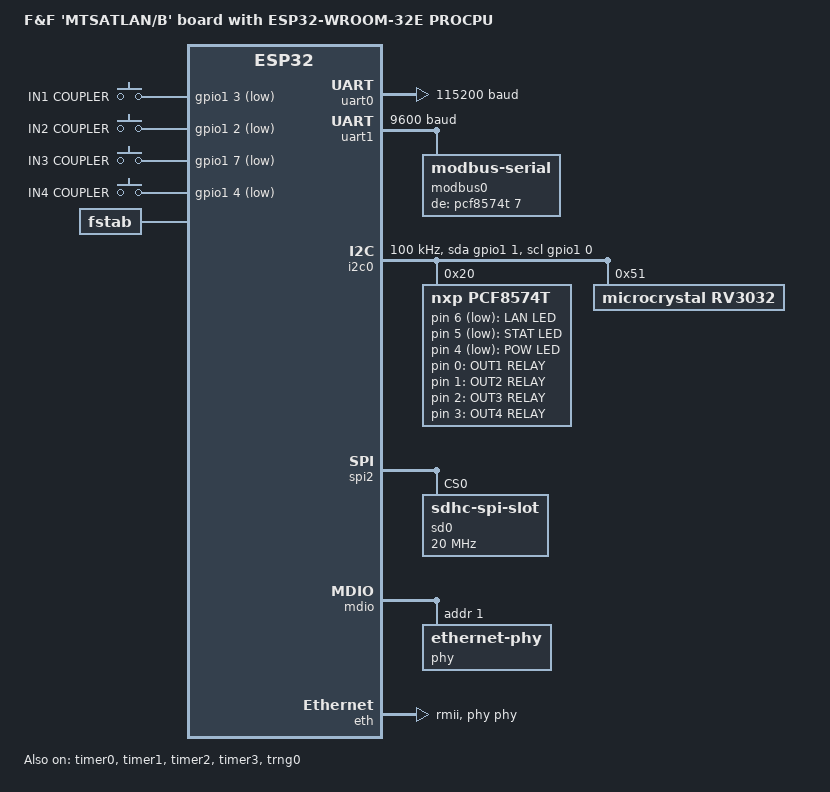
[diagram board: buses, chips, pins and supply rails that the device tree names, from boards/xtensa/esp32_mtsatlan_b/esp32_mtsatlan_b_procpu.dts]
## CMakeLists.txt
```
# SPDX-License-Identifier: Apache-2.0

list(APPEND ZEPHYR_EXTRA_MODULES ${CMAKE_CURRENT_SOURCE_DIR}/drivers/gpio)
list(APPEND ZEPHYR_EXTRA_MODULES ${CMAKE_CURRENT_SOURCE_DIR}/drivers/rtc)

cmake_minimum_required(VERSION 3.20.0)

# list(APPEND BOARD_ROOT ${CMAKE_CURRENT_SOURCE_DIR})

find_package(Zephyr REQUIRED HINTS $ENV{ZEPHYR_BASE})
project(mtsatlam_b_ex)

# if(NOT (DEFINED SYSBUILD))
#   message(FATAL_ERROR "\nThis project must be built with sysbuild!")
# endif()

target_include_directories(app PRIVATE ${CMAKE_CURRENT_SOURCE_DIR}/src)
FILE(GLOB app_csources src/*.c)
target_sources(app PRIVATE ${app_csources})

if(CONFIG_MODBUS)
  add_subdirectory(src/mbm)
endif()
if(CONFIG_GPIO_PCF8574T)
  add_subdirectory(src/ioexp)
endif()
```

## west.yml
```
manifest:
  remotes:
    - name: zephyr-andriyhrabchak
      url-base: https://github.com/andriyhrabchak
  projects:
    - name: zephyr
      remote: zephyr-andriyhrabchak
      revision: initialize_ref_clk_in_mdio_esp32
      import: 
        name-allowlist:
          - hal_espressif
          - littlefs
          - fatfs
          - mcuboot
          - mbedtls
          - zcbor
  self:
    path: app
```

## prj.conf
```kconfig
# NET
CONFIG_NETWORKING=y
CONFIG_NET_L2_ETHERNET=y
CONFIG_NET_IPV6=n
CONFIG_NET_IPV4=y
CONFIG_NET_DHCPV4=y
CONFIG_NET_UDP=y
CONFIG_NET_ARP=y
CONFIG_NET_TCP=y
CONFIG_NET_OFFLOAD=y
CONFIG_NET_HOSTNAME_ENABLE=y
CONFIG_NET_HOSTNAME_DYNAMIC=y
CONFIG_NET_MAX_CONTEXTS=10
CONFIG_NET_PKT_TX_COUNT=20
CONFIG_NET_BUF_TX_COUNT=50
CONFIG_NET_SOCKETS_POLL_MAX=10
CONFIG_NET_MAX_CONN=10

# CONFIG_DNS_RESOLVER=y
# CONFIG_DNS_SERVER_IP_ADDRESSES=y
# CONFIG_DNS_SERVER1="8.8.8.8"

CONFIG_SNTP=y

# LOG
CONFIG_NET_LOG=y
# CONFIG_I2C_LOG_LEVEL_DBG=y
# CONFIG_SPI_LOG_LEVEL_DBG=y
# CONFIG_GPIO_LOG_LEVEL_DBG=y
# CONFIG_MODBUS_LOG_LEVEL_DBG=y
# CONFIG_RTC_LOG_LEVEL_DBG=y
# CONFIG_DISK_LOG_LEVEL_DBG=y
# CONFIG_FS_LOG_LEVEL_DBG=y

# Enable SYSLOG
CONFIG_LOG_BACKEND_NET=y
CONFIG_LOG_BACKEND_NET_SERVER="192.168.137.1"
# CONFIG_LOG_BACKEND_NET_SERVER="169.46.82.174:25736"
CONFIG_LOG_MODE_DEFERRED=y
CONFIG_LOG_BACKEND_NET_RFC5424_STRUCTURED_DATA=y
CONFIG_LOG_BACKEND_NET_RFC5424_SDATA_SEQID=y
CONFIG_LOG_BACKEND_NET_RFC5424_SDATA_UPTIME=y
CONFIG_POSIX_TIMERS=y
CONFIG_LOG_TIMESTAMP_USE_REALTIME=y
CONFIG_LOG_OUTPUT_FORMAT_LINUX_TIMESTAMP=y

# Shell
CONFIG_SHELL=y
CONFIG_SHELL_STACK_SIZE=4096
CONFIG_SHELL_ARGC_MAX=255
CONFIG_SHELL_BACKEND_SERIAL=y
CONFIG_SHELL_BACKEND_TELNET=y
CONFIG_SHELL_TELNET_SUPPORT_COMMAND=y
CONFIG_SHELL_BACKEND_SERIAL_TX_RING_BUFFER_SIZE=256
CONFIG_SHELL_BACKEND_SERIAL_RX_RING_BUFFER_SIZE=4096
CONFIG_GPIO_SHELL=y
CONFIG_RTC_SHELL=y
CONFIG_DATE_SHELL=y
CONFIG_I2C_SHELL=y
CONFIG_NET_SHELL=y
# CONFIG_MCUBOOT_SHELL=y
CONFIG_LOG_CMDS=y
CONFIG_REBOOT=y
CONFIG_HWINFO=y
CONFIG_FILE_SYSTEM_SHELL=y
CONFIG_FILE_SYSTEM_SHELL_TEST_COMMANDS=y

# Modbus
CONFIG_MODBUS=y
CONFIG_MODBUS_SERIAL=y
CONFIG_MODBUS_RAW_ADU=y
CONFIG_MODBUS_ROLE_CLIENT=y
CONFIG_MODBUS_ROLE_SERVER=n
# To enable correct work with addresses above 5000
CONFIG_MODBUS_FP_EXTENSIONS=n

# FAT on SD/SDHC/MMC
CONFIG_HEAP_MEM_POOL_SIZE=16384
CONFIG_DISK_DRIVER_SDMMC=y
CONFIG_DISK_ACCESS=y
CONFIG_FAT_FILESYSTEM_ELM=y
CONFIG_FILE_SYSTEM=y
CONFIG_FILE_SYSTEM_MKFS=y
CONFIG_FS_FATFS_NUM_FILES=6
CONFIG_FS_FATFS_LFN=y

# LittleFS on internal flash 'storage_partition'
CONFIG_FLASH=y
CONFIG_FLASH_PAGE_LAYOUT=y
CONFIG_FLASH_MAP=y
CONFIG_FILE_SYSTEM_LITTLEFS=y
CONFIG_MPU_ALLOW_FLASH_WRITE=y

# Enable mcumgr to support FOTA
# CONFIG_BOOTLOADER_MCUBOOT=y
# CONFIG_NET_BUF=y
# CONFIG_ZCBOR=y
# CONFIG_CRC=y
# CONFIG_BASE64=y
# CONFIG_MCUMGR=y
# CONFIG_STREAM_FLASH=y
# CONFIG_IMG_MANAGER=y
# CONFIG_MCUMGR_GRP_IMG=y
# CONFIG_MCUMGR_TRANSPORT_SHELL=y
```

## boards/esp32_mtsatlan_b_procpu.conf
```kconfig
# SPDX-License-Identifier: Apache-2.0

CONFIG_MAIN_STACK_SIZE=8192

CONFIG_UART_INTERRUPT_DRIVEN=y
CONFIG_UART_LINE_CTRL=n
CONFIG_ETH_ESP32=y
CONFIG_SPI=y
CONFIG_GPIO=y
CONFIG_I2C=y
CONFIG_I2C_INIT_PRIORITY=39
CONFIG_GPIO_PCF8574T=y
CONFIG_GPIO_PCF8574T_INIT_PRIORITY=39
CONFIG_RTC=y
CONFIG_RTC_RV3032=y
CONFIG_POSIX_TIMERS=y
```

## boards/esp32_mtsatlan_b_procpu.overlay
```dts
/*
 * Copyright (c) 2023 Alvaro Garcia Gomez <maxpowel@gmail.com>
 *
 * SPDX-License-Identifier: Apache-2.0
 */

/ {
	chosen {
		zephyr,rtc = &rv3032;
    zephyr,uart-mcumgr = &uart0;
	};

  leds {
		compatible = "gpio-leds";
		red_led: red_led {
			gpios = <&pcf8574t 6 GPIO_ACTIVE_LOW>;
			label = "LAN LED";
    };
		yellow_led: yellow_led {
			gpios = <&pcf8574t 5 GPIO_ACTIVE_LOW>;
			label = "STAT LED";
		};
		green_led: green_led {
			gpios = <&pcf8574t 4 GPIO_ACTIVE_LOW>;
			label = "POW LED";
		};
	};

	relays {
		compatible = "gpio-leds";
		relay_1: relay_1 {
			gpios = <&pcf8574t 0 GPIO_ACTIVE_HIGH>;
			label = "OUT1 RELAY";
		};
		relay_2: relay_2 {
			gpios = <&pcf8574t 1 GPIO_ACTIVE_HIGH>;
			label = "OUT2 RELAY";
		};
		relay_3: relay_3 {
			gpios = <&pcf8574t 2 GPIO_ACTIVE_HIGH>;
			label = "OUT3 RELAY";
		};
		relay_4: relay_4 {
			gpios = <&pcf8574t 3 GPIO_ACTIVE_HIGH>;
			label = "OUT4 RELAY";
		};
  };
};

&i2c0 {
	pcf8574t: pcf8574t@20 {
		status = "okay";
		compatible = "nxp,pcf8574t";
		reg = <0x20>;
    #gpio-cells = <2>;
    ngpios = <8>;
		gpio-controller;
    de-nre-hog {
      gpio-hog;
      gpios = <7 GPIO_ACTIVE_HIGH>;
      output-low;
      line-name = "DE-nRE";
    };
  };
	rv3032: rv3032@51 {
    status = "okay";
		compatible = "microcrystal,rv3032";
    backup-switch-mode = "level";
    charge-switch-mode = "disabled";
		reg = <0x51>;
	};
};

&uart1 {
	modbus0 {
		compatible = "zephyr,modbus-serial";
		status = "okay";
		de-gpios = <&pcf8574t 7 GPIO_ACTIVE_HIGH>;
	};
};
```

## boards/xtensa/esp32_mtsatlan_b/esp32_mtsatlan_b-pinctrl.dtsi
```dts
/*
 * Copyright (c) 2022 Grant Ramsay <grant.ramsay@hotmail.com>
 *
 * SPDX-License-Identifier: Apache-2.0
 */

#include <zephyr/dt-bindings/pinctrl/esp-pinctrl-common.h>
#include <dt-bindings/pinctrl/esp32-pinctrl.h>
#include <zephyr/dt-bindings/pinctrl/esp32-gpio-sigmap.h>

&pinctrl {

	uart0_default: uart0_default {
		group1 {
			pinmux = <UART0_TX_GPIO1>;
			output-high;
		};
		group2 {
			pinmux = <UART0_RX_GPIO3>;
			bias-pull-up;
		};
	};

	uart1_default: uart1_default {
		group1 {
			pinmux = <UART1_TX_GPIO16>;
			output-high;
		};
		group2 {
			pinmux = <UART1_RX_GPIO5>;
			bias-pull-up;
		};
	};

  i2c0_default: i2c0_default {
		group1 {
			pinmux = 
        <I2C0_SDA_GPIO33>,
				<I2C0_SCL_GPIO32>;
			bias-pull-up;
			drive-open-drain;
			output-high;
		};
	};

  spim2_default: spim2_default {
		group1 {
			pinmux = 
        <SPIM2_MISO_GPIO2>,
        <SPIM2_SCLK_GPIO14>,
        <SPIM2_CSEL_GPIO13>;
};
		group2 {
			pinmux = <SPIM2_MOSI_GPIO15>;
			output-low;
		};
	};

	mdio_default: mdio_default {
		group1 {
			pinmux = 
        <SMI_MDC_GPIO23>,
				<SMI_MDIO_GPIO18>;
		};
	};

};
```

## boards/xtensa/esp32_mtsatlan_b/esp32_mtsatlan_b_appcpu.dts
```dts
/*
 * Copyright (c) 2023 Espressif Systems (Shanghai) Co., Ltd.
 *
 * SPDX-License-Identifier: Apache-2.0
 */
/dts-v1/;

#include <espressif/esp32/esp32_appcpu.dtsi>

/ {
	model = "F&F 'MTSATLAN/B' board with ESP32-WROOM-32E APPCPU";
	compatible = "espressif,esp32-wroom-32e", "espressif,esp32";

	chosen {
		zephyr,sram = &sram0;
		zephyr,ipc_shm = &shm0;
		zephyr,ipc = &ipm0;
	};
};

&ipm0 {
	status = "okay";
};

&trng0 {
	status = "okay";
};

&flash0 {
	status = "okay";
	partitions {
		compatible = "fixed-partitions";
		#address-cells = <1>;
		#size-cells = <1>;

		/* Reserve 60kB for the bootloader */
		boot_partition: partition@1000 {
			label = "mcuboot";
			reg = <0x00001000 0x0000F000>;
			read-only;
		};

		/* Reserve 1024kB for the application in slot 0 */
		slot0_partition: partition@10000 {
			label = "image-0";
			reg = <0x00010000 0x00100000>;
		};

		/* Reserve 1024kB for the application in slot 1 */
		slot1_partition: partition@110000 {
			label = "image-1";
			reg = <0x00110000 0x00100000>;
		};

		/* Reserve 256kB for the scratch partition */
		scratch_partition: partition@210000 {
			   label = "image-scratch";
			   reg = <0x00210000 0x00040000>;
		};

		storage_partition: partition@250000 {
			label = "storage";
			reg = <0x00250000 0x00006000>;
		};
	};
};
```

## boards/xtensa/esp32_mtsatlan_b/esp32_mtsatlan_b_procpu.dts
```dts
/*
 * Copyright (c) 2022 Grant Ramsay <grant.ramsay@hotmail.com>
 *
 * SPDX-License-Identifier: Apache-2.0
 */
/dts-v1/;

#include <espressif/esp32/esp32_wroom_32ue_n8.dtsi>
#include "esp32_mtsatlan_b-pinctrl.dtsi"

/ {
	model = "F&F 'MTSATLAN/B' board with ESP32-WROOM-32E PROCPU";
	compatible = "espressif,esp32-wroom-32e", "espressif,esp32";

	aliases {
		uart-0 = &uart0;
		i2c-0 = &i2c0;
		watchdog0 = &wdt0;
	};

	chosen {
		zephyr,sram = &sram0;
		zephyr,console = &uart0;
		zephyr,shell-uart = &uart0;
		zephyr,flash = &flash0;
		zephyr,rtc = &rv3032;
		zephyr,code-partition = &slot0_partition;
	};

  leds {
		compatible = "gpio-leds";
		red_led: red_led {
			gpios = <&pcf8574t 6 GPIO_ACTIVE_LOW>;
			label = "LAN LED";
    };
		yellow_led: yellow_led {
			gpios = <&pcf8574t 5 GPIO_ACTIVE_LOW>;
			label = "STAT LED";
		};
		green_led: green_led {
			gpios = <&pcf8574t 4 GPIO_ACTIVE_LOW>;
			label = "POW LED";
		};
	};

	relays {
		compatible = "gpio-leds";
		relay_1: relay_1 {
			gpios = <&pcf8574t 0 GPIO_ACTIVE_HIGH>;
			label = "OUT1 RELAY";
		};
		relay_2: relay_2 {
			gpios = <&pcf8574t 1 GPIO_ACTIVE_HIGH>;
			label = "OUT2 RELAY";
		};
		relay_3: relay_3 {
			gpios = <&pcf8574t 2 GPIO_ACTIVE_HIGH>;
			label = "OUT3 RELAY";
		};
		relay_4: relay_4 {
			gpios = <&pcf8574t 3 GPIO_ACTIVE_HIGH>;
			label = "OUT4 RELAY";
		};
  };

  inputs {
		compatible = "gpio-keys";
		input_1: input_1 {
			gpios = <&gpio1 3 GPIO_ACTIVE_LOW>;
			label = "IN1 COUPLER";
		};
		input_2: input_2 {
			gpios = <&gpio1 2 GPIO_ACTIVE_LOW>;
			label = "IN2 COUPLER";
		};
		input_3: input_3 {
			gpios = <&gpio1 7 GPIO_ACTIVE_LOW>;
			label = "IN3 COUPLER";
		};
		input_4: input_4 {
			gpios = <&gpio1 4 GPIO_ACTIVE_LOW>;
			label = "IN4 COUPLER";
		};
	};

	fstab {
		compatible = "zephyr,fstab";
		lfs: lfs_storage_partition {
			compatible = "zephyr,fstab,littlefs";
			mount-point = "/LFS:";
			partition = <&storage_partition>;
			automount;
			read-size = <16>;
			prog-size = <16>;
			cache-size = <64>;
			lookahead-size = <32>;
			block-cycles = <512>;
		};
	};
};

&uart0 {
	status = "okay";
	current-speed = <115200>;
	pinctrl-0 = <&uart0_default>;
	pinctrl-names = "default";
};

&uart1 {
	status = "okay";
	current-speed = <9600>;
	pinctrl-0 = <&uart1_default>;
	pinctrl-names = "default";
	modbus0 {
		compatible = "zephyr,modbus-serial";
		status = "okay";
		de-gpios = <&pcf8574t 7 GPIO_ACTIVE_HIGH>;
	};
};

&gpio0 {
	status = "okay";
};

&gpio1 {
	status = "okay";
};

&i2c0 {
	status = "okay";
	clock-frequency = <I2C_BITRATE_STANDARD>;
	sda-gpios = <&gpio1 1 GPIO_OPEN_DRAIN>;
	scl-gpios = <&gpio1 0 GPIO_OPEN_DRAIN>;
	pinctrl-0 = <&i2c0_default>;
	pinctrl-names = "default";
	pcf8574t: pcf8574t@20 {
		status = "okay";
		compatible = "nxp,pcf8574t";
		reg = <0x20>;
    #gpio-cells = <2>;
    ngpios = <8>;
		gpio-controller;
    de-nre-hog {
      gpio-hog;
      gpios = <7 GPIO_ACTIVE_HIGH>;
      output-low;
      line-name = "DE-nRE";
    };
  };
	rv3032: rv3032@51 {
    status = "okay";
		compatible = "microcrystal,rv3032";
    backup-switch-mode = "level";
    charge-switch-mode = "disabled";
		reg = <0x51>;
	};
};

&spi2 {
  #address-cells = <1>;
  #size-cells = <0>;
  pinctrl-0 = <&spim2_default>;
  pinctrl-names = "default";
  status = "okay";
  sd0: sd@0 {
    compatible = "zephyr,sdhc-spi-slot";
    reg = <0>;
    status = "okay";
    spi-max-frequency = <20000000>;
    mmc {
      compatible = "zephyr,sdmmc-disk";
      status = "okay";
    };
  };
};

&mdio {
	pinctrl-0 = <&mdio_default>;
	pinctrl-names = "default";
	ref-clk-output-gpios = <&gpio0 17 0>;
	status = "okay";

	phy: ethernet-phy@1 {
		compatible = "ethernet-phy";
		status = "okay";
		reg = <1>;
	};
};

&eth {
	phy-handle = <&phy>;
	ref-clk-output-gpios = <&gpio0 17 0>;
	phy-connection-type = "rmii";
	status = "okay";
};

&esp32_bt_hci {
	status = "disabled";
};

&timer0 {
	status = "okay";
};

&timer1 {
	status = "okay";
};

&timer2 {
	status = "okay";
};

&timer3 {
	status = "okay";
};

&trng0 {
	status = "okay";
};

&psram0 {
	status = "disabled";
};

&flash0 {
	status = "okay";
	partitions {
		compatible = "fixed-partitions";
		#address-cells = <1>;
		#size-cells = <1>;

		/* Reserve 60kB for the bootloader */
		boot_partition: partition@1000 {
			label = "mcuboot";
			reg = <0x00001000 0x0000F000>;
			read-only;
		};

		/* Reserve 1024kB for the application in slot 0 */
		slot0_partition: partition@10000 {
			label = "image-0";
			reg = <0x00010000 0x00100000>;
		};

		/* Reserve 1024kB for the application in slot 1 */
		slot1_partition: partition@110000 {
			label = "image-1";
			reg = <0x00110000 0x00100000>;
		};

		/* Reserve 256kB for the scratch partition */
		scratch_partition: partition@210000 {
			   label = "image-scratch";
			   reg = <0x00210000 0x00040000>;
		};
    
		storage_partition: partition@250000 {
			label = "storage";
			reg = <0x00250000 0x00500000>;
		};

  };
};
```

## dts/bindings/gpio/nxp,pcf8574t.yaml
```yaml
# Copyright (c) 2022 ithinx GmbH
# 2023 Amrith Venkat Kesavamoorthi <amrith@mr-beam.org>
# 2023 Mr Beam Lasers GmbH.
# 2024 HAV
# SPDX-License-Identifier: Apache-2.0

description: PCF8574T 8-bit I2C-based I/O expander

compatible: "nxp,pcf8574t"

include: [i2c-device.yaml, gpio-controller.yaml]

properties:
  ngpios:
    required: true
    enum:
      - 8

  int-gpios:
    type: phandle-array
    description: |
      GPIO connected to the controller INT pin. This pin is active-low.

  "#gpio-cells":
    const: 2

gpio-cells:
  - pin
  - flags
```

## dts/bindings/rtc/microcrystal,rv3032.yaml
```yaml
# Copyright (c) 2024 ANITRA system s.r.o.
# SPDX-License-Identifier: Apache-2.0
# Copyright (c) 2024 HAV

description: Micro Crystal RV3032 RTC

compatible: "microcrystal,rv3032"

include:
  - name: rtc-device.yaml
  - name: i2c-device.yaml

properties:
  backup-switch-mode:
    type: string
    required: true
    enum:
      - disabled
      - direct
      - level
    description: |
      Automatic backup switchover function selection:
        - disabled: The switchover function is disabled - only one power supply available (VDD)
        - direct: Direct Switching Mode (DSM): PMU selects pin with the greater voltage (VDD or VBACKUP)
        - level: Level Switching Mode (LSM): when VDD < VTH:LSM (2.0 V) AND VBACKUP > VTH:LSM,
          switchover occurs from VDD to VBACKUP

  charge-switch-mode:
    type: string
    required: true
    enum:
      - disabled
      - 1750mv
      - 3000mv
      - 4400mv
    description: |
      Charging circuit with desired charge pump voltage selection
      
  trickle-resistor-ohms:
    type: int
    enum:
      - 1000
      - 2000
      - 7000
      - 11000
    description: |
      Enable the trickle charger with provided current-limiting resistance in ohms. The trickle
      charger allows a battery or supercapacitor connected to VBACKUP to be charged.
```

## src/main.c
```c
/*
 * Copyright (c) 2012-2014 Wind River Systems, Inc.
 *
 * SPDX-License-Identifier: Apache-2.0
 */

#include <stdio.h>

#include <zephyr/kernel.h>
#include <zephyr/logging/log_backend.h>
#include <zephyr/logging/log.h>
#include <zephyr/logging/log_ctrl.h>
#include <zephyr/shell/shell.h>
#include <zephyr/shell/shell_uart.h>
#include <zephyr/net/hostname.h>
#include <zephyr/net/net_if.h>
#include <zephyr/net/net_core.h>
#include <zephyr/net/net_context.h>
#include <zephyr/net/net_mgmt.h>
#include <zephyr/net/sntp.h>
#include <zephyr/posix/time.h>

#include <app_version.h>

#ifdef CONFIG_GPIO_PCF8574T
#include <ioexp.h>
#endif

#ifdef CONFIG_FAT_FILESYSTEM_ELM
#include <zephyr/fs/fs.h>
#include <ff.h>
/* FatFs work area */
FATFS app_fat_fs;
/* mounting info */
static struct fs_mount_t app_fatfs_mnt = {
	.type = FS_FATFS,
	.fs_data = &app_fat_fs,
	.mnt_point = "/SD:" // Do not change! Allowed only strings from FF_VOLUME_STRS
};
#endif

LOG_MODULE_REGISTER(main, LOG_LEVEL_DBG);

static struct net_mgmt_event_callback mgmt_cb;

/* Semaphore to indicate a lease has been acquired. */
static K_SEM_DEFINE(got_address, 0, 1);

static void handler(struct net_mgmt_event_callback *cb, uint32_t mgmt_event, struct net_if *iface) {
	int i;
	bool notified = false;

	if (mgmt_event != NET_EVENT_IPV4_ADDR_ADD) {
		return;
	}

	for (i = 0; i < NET_IF_MAX_IPV4_ADDR; i++) {
		if (iface->config.ip.ipv4->unicast[i].ipv4.addr_type != NET_ADDR_DHCP) {
			continue;
		}

		if (!notified) {
			k_sem_give(&got_address);
			notified = true;
		}
		break;
	}
}

/**
 * Start a DHCP client, and wait for a lease to be acquired.
 */
void app_dhcpv4_startup(void) {
	LOG_INF("Starting DHCPv4...");

	net_mgmt_init_event_callback(&mgmt_cb, handler, NET_EVENT_IPV4_ADDR_ADD);
	net_mgmt_add_event_callback(&mgmt_cb);

	net_dhcpv4_start(net_if_get_default());

	/* Wait for a lease. */
	k_sem_take(&got_address, K_FOREVER);
}

int module_logid_get(const char *name) {
	uint32_t modules_cnt = log_src_cnt_get(Z_LOG_LOCAL_DOMAIN_ID);
	const char *tmp_name;
	uint32_t i;

	for (i = 0U; i < modules_cnt; i++) {
		tmp_name = log_source_name_get(Z_LOG_LOCAL_DOMAIN_ID, i);

		if (strncmp(tmp_name, name, 64) == 0) {
			return i;
		}
	}
	return -1;
}

#define SNTP_SERVER "pool.ntp.org"

int sntp_sync_time(void) {
	int rc;
	struct sntp_time now;
	struct timespec tspec;

	rc = sntp_simple(SNTP_SERVER, 10000, &now);
	if (rc == 0) {
		tspec.tv_sec = now.seconds;
		tspec.tv_nsec = ((uint64_t)now.fraction * (1000lu * 1000lu * 1000lu)) >> 32;

		clock_settime(CLOCK_REALTIME, &tspec);

		LOG_DBG("Acquired time from NTP server: %u", (uint32_t)tspec.tv_sec);
	} else {
		LOG_ERR("Failed to acquire SNTP, code %d\n", rc);
	}
	return rc;
}

#define SLEEP_TIME_MS   3000

extern const struct log_backend *log_backend_net_get(void);

int main(void) {
  int rc = 0;

  printk("### Run 'app' v%s on %s ###\n", APP_VERSION_STRING, CONFIG_BOARD);

	app_dhcpv4_startup();

  sntp_sync_time();

  /* Example how to start the backend if autostart is disabled.
    * This is useful if the application needs to wait the network
    * to be fully up before the syslog-net is able to work.
    */
  LOG_WRN("Begin logging to syslog (%s)", CONFIG_LOG_BACKEND_NET_SERVER);
  k_msleep(SLEEP_TIME_MS);
  // set filters for all domains
  const struct shell *shell = shell_backend_uart_get_ptr();
  log_filter_set(shell->log_backend->backend, Z_LOG_LOCAL_DOMAIN_ID, module_logid_get("main"), LOG_LEVEL_DBG);
  // disable shell domain logs
  log_backend_deactivate(shell->log_backend->backend);
  // enable net domain logs (syslogs)
  net_hostname_set("myhost12345", 11); 
  const struct log_backend *log_backend_net = log_backend_net_get();
  if (log_backend_net->api->init != NULL) {
    log_backend_net->api->init(log_backend_net);
  }
  log_backend_activate(log_backend_net, NULL);

  k_msleep(SLEEP_TIME_MS);

  int count = 5;
	int i = count;
	do {
		LOG_ERR("Error message (%d)", i);
		LOG_WRN("Warning message (%d)", i);
		LOG_INF("Info message (%d)", i);
		LOG_DBG("Debug message (%d)", i);
		k_msleep(SLEEP_TIME_MS);
	} while (--i);
	LOG_DBG("Stopped after %d msg", count);

  #ifdef CONFIG_FAT_FILESYSTEM_ELM
	rc = fs_mount(&app_fatfs_mnt);
  if (rc == -EIO) {
    LOG_WRN("No SD card detected");
  } else if (rc < 0)	{
		LOG_ERR("Error mounting FAT [%d]", rc);
	}
  #endif

  #ifdef CONFIG_GPIO_PCF8574T
  if (ioexp_is_ready()) {

    ioexp_led_off(LED_STAT);
    ioexp_led_off(LED_LAN);

    while (1) {
      ioexp_led_tgl(LED_LAN);
      k_msleep(SLEEP_TIME_MS);
    }
  }
  #endif
  
  return rc;
}
```
